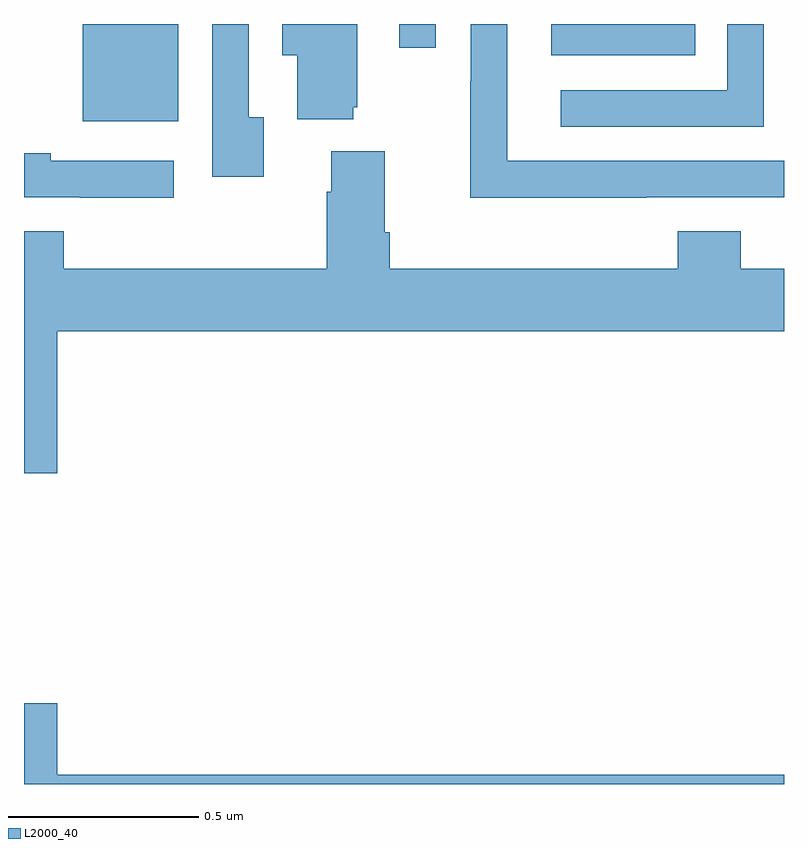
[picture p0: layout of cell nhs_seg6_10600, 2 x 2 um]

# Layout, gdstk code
import gdstk
lib = gdstk.Library(unit=1e-6, precision=1e-09)
def R(c, l, rs):  # rectangles x0, y0, x1, y1
    for r in rs: c.add(gdstk.rectangle(r[:2], r[2:], *l))
def P(c, l, *ps):  # polygons
    for p in ps: c.add(gdstk.Polygon(p, *l))
L2000_40 = (2000, 40)

nhs_seg6_10600 = lib.new_cell('nhs_seg6_10600')
R(nhs_seg6_10600, L2000_40, [(249.155,925.244,249.406,925.5), (250.388,925.418,250.766,925.5), (249.987,925.437,250.083,925.5)])
P(nhs_seg6_10600, L2000_40, [(250.637,925.044),(251,925.044),(251,925.14),(250.272,925.14),(250.272,925.5),(250.176,925.5),(250.176,925.349),(250.174,925.349),(250.174,925.043),(250.637,925.043)],
  [(250.947,925.5),(250.851,925.5),(250.851,925.326),(250.413,925.326),(250.413,925.23),(250.947,925.23)],
  [(249.631,925.254),(249.591,925.254),(249.591,925.5),(249.495,925.5),(249.495,925.098),(249.631,925.098)],
  [(249.866,925.281),(249.877,925.281),(249.877,925.5),(249.68,925.5),(249.68,925.418),(249.719,925.418),(249.719,925.25),(249.866,925.25)],
  [(249.088,924.692),(251,924.692),(251,924.856),(250.886,924.856),(250.886,924.955),(250.721,924.955),(250.721,924.856),(249.962,924.856),(249.962,924.952),(249.949,924.952),(249.949,925.165),(249.809,925.165),(249.809,925.058),(249.797,925.058),(249.797,924.856),(249.104,924.856),(249.104,924.954),(249,924.954),(249,924.318),(249.088,924.318)],
  [(249.394,925.14),(249.07,925.14),(249.07,925.16),(249,925.16),(249,925.044),(249.147,925.044),(249.147,925.043),(249.394,925.043)],
  [(251,923.524),(249.088,923.524),(249.088,923.713),(249,923.713),(249,923.5),(251,923.5)])

lib.write_gds('nhs_seg6_10600.gds')
